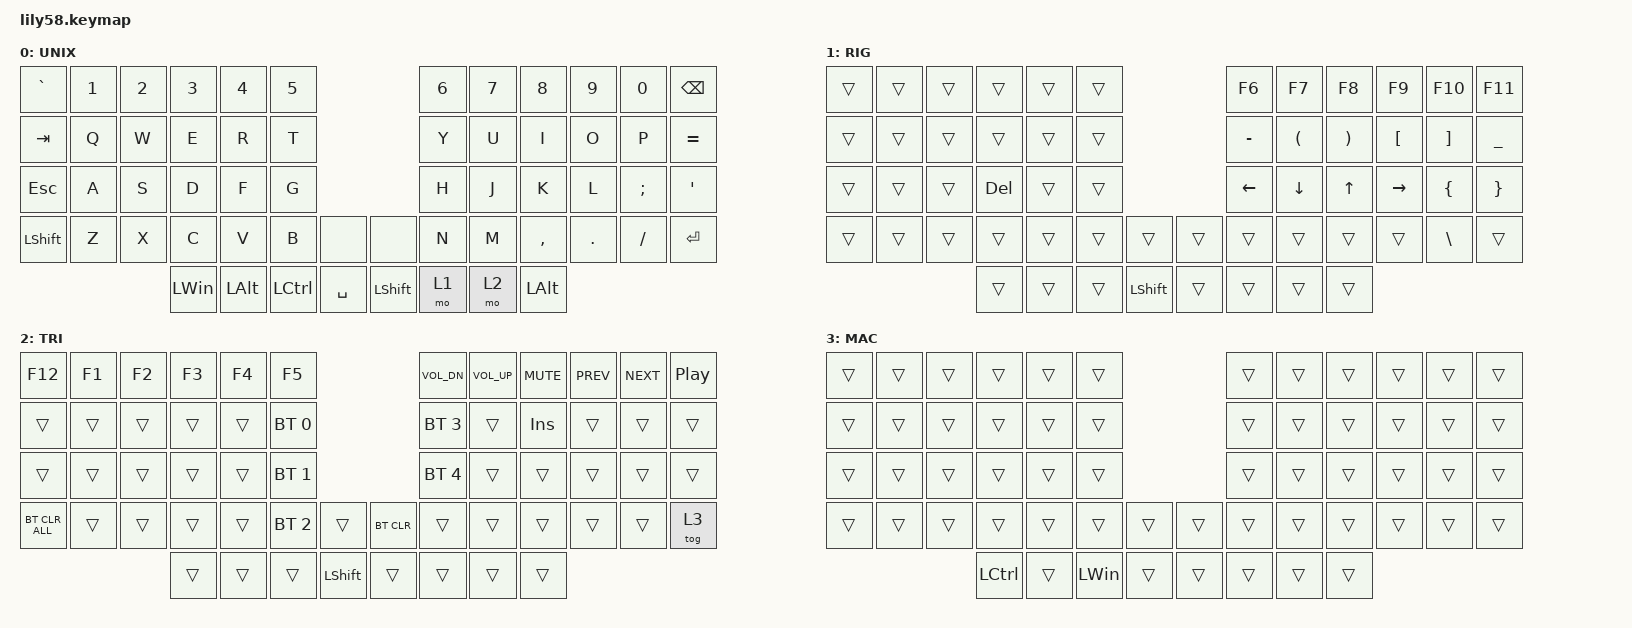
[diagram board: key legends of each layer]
/*
 * Copyright (c) 2020 The ZMK Contributors
 *
 * SPDX-License-Identifier: MIT
 */

#include <behaviors.dtsi>
#include <dt-bindings/zmk/bt.h>
#include <dt-bindings/zmk/keys.h>

/ {
    behaviors {
        bspc_delete: bspc_delete {
            compatible = "zmk,behavior-mod-morph";
            label = "BSPC_DELETE";
            bindings = <&kp BACKSPACE>, <&kp DELETE>;

            #binding-cells = <0>;
            mods = <(MOD_LALT)>;
        };

        h_minus: h_minus {
            compatible = "zmk,behavior-mod-morph";
            label = "H_MINUS";
            bindings = <&kp H>, <&kp MINUS>;

            #binding-cells = <0>;
            mods = <(MOD_LALT)>;
        };

        j_l_prts: j_l_prts {
            compatible = "zmk,behavior-mod-morph";
            label = "J_L_PRTS";
            bindings = <&kp J>, <&kp LEFT_PARENTHESIS>;

            #binding-cells = <0>;
            mods = <(MOD_LALT)>;
        };

        k_r_parnts: k_r_parnts {
            compatible = "zmk,behavior-mod-morph";
            label = "K_R_PARNTS";
            bindings = <&kp K>, <&kp RIGHT_PARENTHESIS>;

            #binding-cells = <0>;
            mods = <(MOD_LALT)>;
        };

        l_l_brckt: l_l_brckt {
            compatible = "zmk,behavior-mod-morph";
            label = "L_L_BRCKT";
            bindings = <&kp L>, <&kp LEFT_BRACKET>;

            #binding-cells = <0>;
            mods = <(MOD_LALT)>;
        };

        semi_r_brack: semi_r_brack {
            compatible = "zmk,behavior-mod-morph";
            label = "SEMI_R_BRACK";
            bindings = <&kp SEMICOLON>, <&kp RIGHT_BRACKET>;

            #binding-cells = <0>;
            mods = <(MOD_LALT)>;
        };

        ht: ht {
            compatible = "zmk,behavior-hold-tap";
            label = "hold_tap";
            bindings = <&kp>, <&kp>;

            #binding-cells = <2>;
            quick-tap-ms = <150>;
            tapping-term-ms = <220>;
            flavor = "tap-preferred";
        };
    };

    combos { compatible = "zmk,combos"; };

    keymap {
        compatible = "zmk,keymap";

        UNIX {
            bindings = <
&kp GRAVE       &kp NUMBER_1  &kp N2  &kp N3        &kp N4        &kp N5                                         &kp N6  &kp N7  &kp N8        &kp N9   &kp N0         &kp BACKSPACE
&kp TAB         &kp Q         &kp W   &kp E         &kp R         &kp T                                          &kp Y   &kp U   &kp I         &kp O    &kp P          &kp EQUAL
&kp ESC         &kp A         &kp S   &kp D         &kp F         &kp G                                          &kp H   &kp J   &kp K         &kp L    &kp SEMICOLON  &kp SQT
&kp LEFT_SHIFT  &kp Z         &kp X   &kp C         &kp V         &kp B             &none        &none           &kp N   &kp M   &kp COMMA     &kp DOT  &kp FSLH       &kp ENTER
                                      &kp LEFT_WIN  &kp LEFT_ALT  &kp LEFT_CONTROL  &kp SPACE    &kp LEFT_SHIFT  &mo 1   &mo 2   &kp LEFT_ALT
            >;
        };

        SYMBOLS {
            // ------------------------------------------------------------------------------------------------------------
            // |       |     |     |      |      |      |                   |      |       |       |      |       |       |
            // |   `   |  1  |  2  |  3   |  4   |  5   |                   |  6   |   7   |   8   |  9   |   0   |       |
            // |   F1  |  F2 |  F3 |  F4  |  F5  |  F6  |                   |      |   <-  |   v   |  ^   |  ->   |       |
            // |   F7  |  F8 |  F9 |  F10 |  F11 |  F12 |        |  |       |  +   |   -   |   =   |  [   |   ]   |   \   |
            //                     |      |      |      |        |  |       |      |       |       |

            display-name = "RIG";
            bindings = <
&trans  &trans  &trans  &trans      &trans  &trans                            &kp F6     &kp F7                &kp F8                 &kp F9            &kp F10            &kp F11
&trans  &trans  &trans  &trans      &trans  &trans                            &kp MINUS  &kp LEFT_PARENTHESIS  &kp RIGHT_PARENTHESIS  &kp LEFT_BRACKET  &kp RIGHT_BRACKET  &kp UNDER
&trans  &trans  &trans  &kp DELETE  &trans  &trans                            &kp LEFT   &kp DOWN              &kp UP                 &kp RIGHT         &kp LEFT_BRACE     &kp RIGHT_BRACE
&trans  &trans  &trans  &trans      &trans  &trans  &trans            &trans  &trans     &trans                &trans                 &trans            &kp BACKSLASH      &trans
                        &trans      &trans  &trans  &kp LEFT_SHIFT    &trans  &trans     &trans                &trans
            >;

            label = "RIG";
        };

        FN {
            bindings = <
&kp F12         &kp F1  &kp F2  &kp F3  &kp F4  &kp F5                                      &kp C_VOL_DN  &kp C_VOL_UP  &kp C_MUTE  &kp C_PREV  &kp C_NEXT  &kp C_PLAY_PAUSE
&trans          &trans  &trans  &trans  &trans  &bt BT_SEL 0                                &bt BT_SEL 3  &trans        &kp INS     &trans      &trans      &trans
&trans          &trans  &trans  &trans  &trans  &bt BT_SEL 1                                &bt BT_SEL 4  &trans        &trans      &trans      &trans      &trans
&bt BT_CLR_ALL  &trans  &trans  &trans  &trans  &bt BT_SEL 2  &trans            &bt BT_CLR  &trans        &trans        &trans      &trans      &trans      &tog 3
                                &trans  &trans  &trans        &kp LEFT_SHIFT    &trans      &trans        &trans        &trans
            >;

            label = "TRI";
        };

        MAC {
            bindings = <
&trans  &trans  &trans  &trans            &trans  &trans                          &trans  &trans  &trans  &trans  &trans  &trans
&trans  &trans  &trans  &trans            &trans  &trans                          &trans  &trans  &trans  &trans  &trans  &trans
&trans  &trans  &trans  &trans            &trans  &trans                          &trans  &trans  &trans  &trans  &trans  &trans
&trans  &trans  &trans  &trans            &trans  &trans        &trans    &trans  &trans  &trans  &trans  &trans  &trans  &trans
                        &kp LEFT_CONTROL  &trans  &kp LEFT_WIN  &trans    &trans  &trans  &trans  &trans
            >;
        };
    };

    conditional_layers { compatible = "zmk,conditional-layers"; };
};
